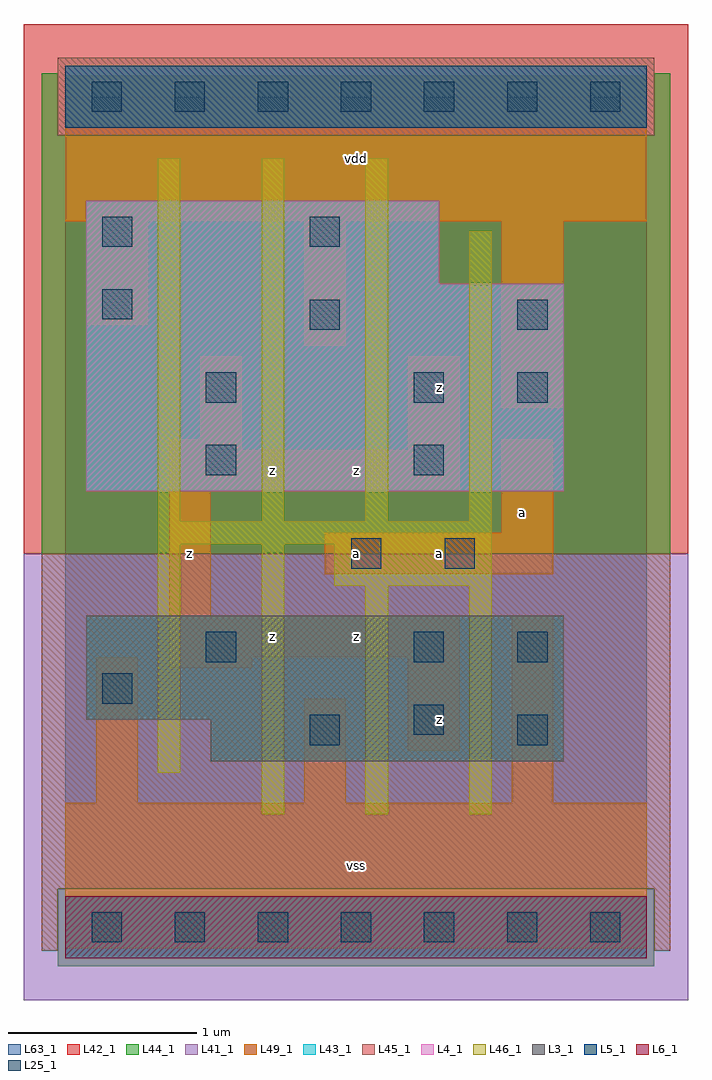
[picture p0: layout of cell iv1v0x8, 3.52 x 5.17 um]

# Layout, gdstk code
import gdstk
lib = gdstk.Library(unit=1e-6, precision=1e-09)
def R(c, l, rs):  # rectangles x0, y0, x1, y1
    for r in rs: c.add(gdstk.rectangle(r[:2], r[2:], *l))
def A(c, l, x, y, w, h, nx, ny, dx, dy):  # array of equal rectangles
    R(c, l, [(x+i*dx, y+j*dy, x+i*dx+w, y+j*dy+h) for i in range(nx) for j in range(ny)])
L3_1 = (3, 1)
L4_1 = (4, 1)
L5_1 = (5, 1)
L6_1 = (6, 1)
L25_1 = (25, 1)
L41_1 = (41, 1)
L42_1 = (42, 1)
L43_1 = (43, 1)
L44_1 = (44, 1)
L45_1 = (45, 1)
L46_1 = (46, 1)
L49_1 = (49, 1)
L63_1 = (63, 1)

iv1v0x8 = lib.new_cell('iv1v0x8')
R(iv1v0x8, L3_1, [(0.77,0.88,2.64,1.1), (0.11,1.1,2.64,1.65)])
R(iv1v0x8, L4_1, [(0.11,2.31,2.64,3.41), (0.11,3.41,1.98,3.85)])
R(iv1v0x8, L5_1, [(0,4.235,3.08,4.565)])
R(iv1v0x8, L6_1, [(0,-0.165,3.08,0.165)])
A(iv1v0x8, L25_1, 0.14, -0.08, 0.16, 0.16, 7, 2, 0.44, 4.4)
R(iv1v0x8, L25_1, [(1.295,0.965,1.455,1.125), (2.395,0.965,2.555,1.125), (1.845,1.02,2.005,1.18), (0.195,1.185,0.355,1.345), (0.745,1.405,0.905,1.565), (1.845,1.405,2.005,1.565), (2.395,1.405,2.555,1.565), (1.515,1.9,1.675,2.06), (2.01,1.9,2.17,2.06), (0.745,2.395,0.905,2.555), (1.845,2.395,2.005,2.555), (0.745,2.78,0.905,2.94), (1.845,2.78,2.005,2.94), (2.395,2.78,2.555,2.94), (1.295,3.165,1.455,3.325), (2.395,3.165,2.555,3.325), (0.195,3.22,0.355,3.38), (0.195,3.605,0.355,3.765), (1.295,3.605,1.455,3.765)])
R(iv1v0x8, L41_1, [(-0.22,-0.385,3.3,1.98)])
R(iv1v0x8, L42_1, [(-0.22,1.98,3.3,4.785)])
R(iv1v0x8, L43_1, [(0,-0.165,3.08,0.165), (0.77,0.88,2.64,1.1), (0.11,1.1,2.64,1.65), (0.11,2.31,2.64,3.41), (0.11,3.41,1.98,3.85), (0,4.235,3.08,4.565)])
R(iv1v0x8, L44_1, [(-0.04,-0.205,3.12,0.205), (-0.125,1.98,3.205,4.195), (-0.125,4.195,-0.04,4.525), (3.12,4.195,3.205,4.525)])
R(iv1v0x8, L45_1, [(-0.125,-0.125,-0.04,0.205), (3.12,-0.125,3.205,0.205), (-0.125,0.205,3.205,1.98), (-0.04,4.195,3.12,4.605)])
A(iv1v0x8, L46_1, 0.49, 2.15, 0.12, 1.925, 3, 1, 0.55, 0)
R(iv1v0x8, L46_1, [(1.04,0.6,1.16,2.03), (1.59,0.6,1.71,1.81), (2.14,0.6,2.26,1.81), (0.49,0.82,0.61,2.03), (1.425,1.81,2.26,2.03), (0.49,2.03,2.26,2.15), (2.14,2.15,2.26,3.69)])
R(iv1v0x8, L49_1, [(0,-0.11,3.08,0.66), (0.165,0.66,0.385,1.43), (1.265,0.66,1.485,1.21), (2.365,0.66,2.585,1.65), (1.815,0.935,2.09,1.43), (0.55,1.375,0.99,1.43), (0.55,1.43,2.09,1.65), (0.55,1.65,0.77,2.31), (1.375,1.87,2.585,2.09), (2.31,2.09,2.585,2.585), (0.55,2.31,2.09,2.53), (0.55,2.53,0.935,2.585), (1.815,2.53,2.09,3.025), (0.715,2.585,0.935,3.025), (2.31,2.75,2.64,3.74), (1.265,3.08,1.485,3.74), (0.11,3.19,0.44,3.74), (0,3.74,3.08,4.51)])
R(iv1v0x8, L63_1, [(0,0,3.08,4.4)])
iv1v0x8.add(gdstk.Label('z', (0.66,1.98), layer=49, texttype=1))
iv1v0x8.add(gdstk.Label('z', (1.1,1.54), layer=49, texttype=1))
iv1v0x8.add(gdstk.Label('z', (1.1,2.42), layer=49, texttype=1))
iv1v0x8.add(gdstk.Label('vss', (1.54,0.33), layer=49, texttype=1))
iv1v0x8.add(gdstk.Label('z', (1.98,1.1), layer=49, texttype=1))
iv1v0x8.add(gdstk.Label('z', (1.54,1.54), layer=49, texttype=1))
iv1v0x8.add(gdstk.Label('a', (1.54,1.98), layer=49, texttype=1))
iv1v0x8.add(gdstk.Label('a', (1.98,1.98), layer=49, texttype=1))
iv1v0x8.add(gdstk.Label('z', (1.54,2.42), layer=49, texttype=1))
iv1v0x8.add(gdstk.Label('z', (1.98,2.86), layer=49, texttype=1))
iv1v0x8.add(gdstk.Label('vdd', (1.54,4.07), layer=49, texttype=1))
iv1v0x8.add(gdstk.Label('a', (2.42,2.2), layer=49, texttype=1))

lib.write_gds('iv1v0x8.gds')
